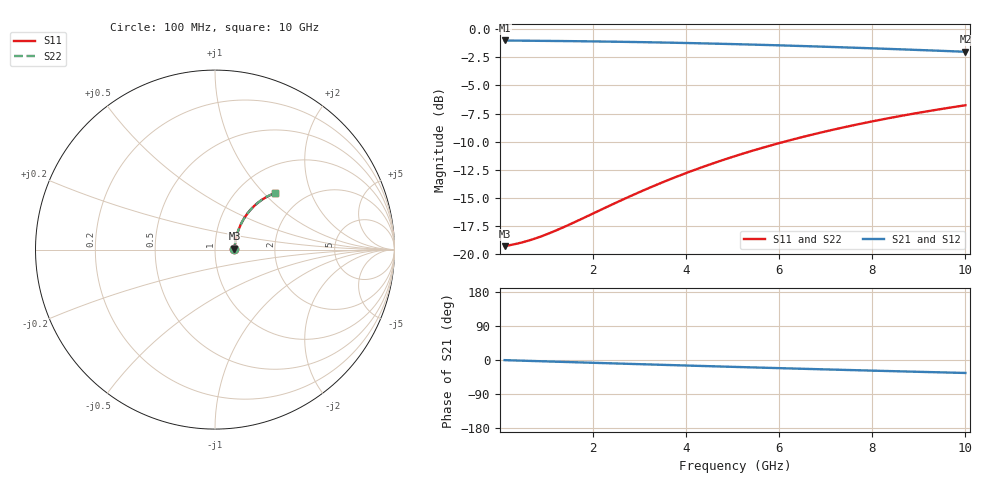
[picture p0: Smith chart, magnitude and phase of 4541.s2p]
# Hz S RI R 50.00
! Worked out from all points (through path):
!   100 points, 100 MHz to 10 GHz, reference 50 ohm
!   highest |S21| = -0.99 dB at 100 MHz (marker M1); lowest = -2.0 dB at 10 GHz (marker M2)
!   group delay of S21, straight-line fit = 9.54 ps
!   lowest |S11| = -19.3 dB at 100 MHz (marker M3), VSWR 1.24, Z = 62.1 + j0.561 ohm
!   |S11| at or under -10 dB: start of sweep to 6.122 GHz
!   |S22| runs from -19.3 to -6.8 dB; largest |S21 - S12| = 0
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1e8  0.1081 0.00447  0.8919 -0.00577  0.8919 -0.00577  0.1081 0.00447
3e8  0.1094 0.0134  0.8906 -0.0173  0.8906 -0.0173  0.1094 0.0134
5e8  0.1106 0.0222  0.8894 -0.0287  0.8894 -0.0287  0.1106 0.0222
8e8  0.1124 0.0354  0.8875 -0.0458  0.8875 -0.0458  0.1124 0.0354
1e9  0.1138 0.0442  0.8861 -0.0572  0.8861 -0.0572  0.1138 0.0442
1.2e9  0.1154 0.0529  0.8844 -0.0685  0.8844 -0.0685  0.1154 0.0529
1.5e9  0.1182 0.0658  0.8816 -0.0854  0.8816 -0.0854  0.1182 0.0658
1.8e9  0.1213 0.0786  0.8784 -0.1021  0.8784 -0.1021  0.1213 0.0786
2.7e9  0.1334 0.116  0.8659 -0.1512  0.8659 -0.1512  0.1334 0.116
3.1e9  0.14 0.1319  0.8591 -0.1724  0.8591 -0.1724  0.14 0.1319
3.4e9  0.1455 0.1436  0.8535 -0.188  0.8535 -0.188  0.1455 0.1436
3.8e9  0.1533 0.1588  0.8453 -0.2084  0.8453 -0.2084  0.1533 0.1588
4.2e9  0.1619 0.1734  0.8365 -0.2283  0.8365 -0.2283  0.1619 0.1734
4.6e9  0.171 0.1875  0.827 -0.2477  0.827 -0.2477  0.171 0.1875
5.1e9  0.1833 0.2043  0.8143 -0.271  0.8143 -0.271  0.1833 0.2043
5.5e9  0.1937 0.2171  0.8035 -0.289  0.8035 -0.289  0.1937 0.2171
5.9e9  0.2046 0.2292  0.7922 -0.3064  0.7922 -0.3064  0.2046 0.2292
6.7e9  0.2277 0.2515  0.7682 -0.3393  0.7682 -0.3393  0.2277 0.2515
7.5e9  0.2522 0.271  0.7426 -0.3695  0.7426 -0.3695  0.2522 0.271
8.4e9  0.281 0.2898  0.7125 -0.4002  0.7125 -0.4002  0.281 0.2898
9.2e9  0.3073 0.3036  0.6849 -0.4247  0.6849 -0.4247  0.3073 0.3036
1e10  0.3339 0.3148  0.6568 -0.4466  0.6568 -0.4466  0.3339 0.3148
